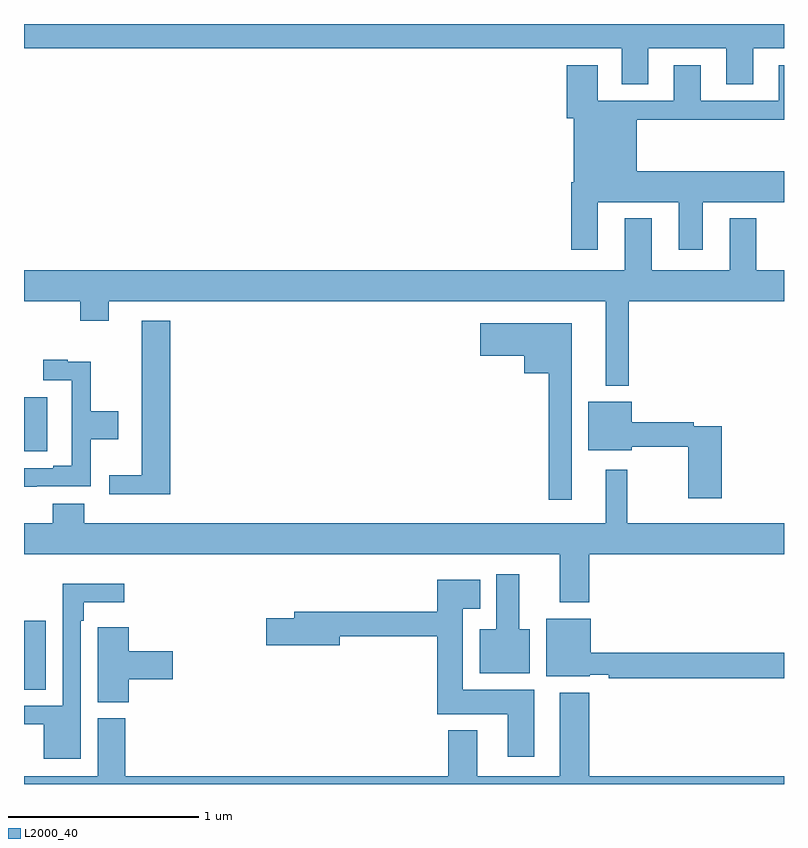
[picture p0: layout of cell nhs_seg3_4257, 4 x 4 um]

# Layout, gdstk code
import gdstk
lib = gdstk.Library(unit=1e-6, precision=1e-09)
def R(c, l, rs):  # rectangles x0, y0, x1, y1
    for r in rs: c.add(gdstk.rectangle(r[:2], r[2:], *l))
def P(c, l, *ps):  # polygons
    for p in ps: c.add(gdstk.Polygon(p, *l))
L2000_40 = (2000, 40)

nhs_seg3_4257 = lib.new_cell('nhs_seg3_4257')
R(nhs_seg3_4257, L2000_40, [(337,674.896,337.114,675.259), (337,676.151,337.123,676.435)])
P(nhs_seg3_4257, L2000_40, [(340.285,678.272),(340.697,678.272),(340.697,678.082),(340.837,678.082),(340.837,678.272),(341,678.272),(341,678.4),(337,678.4),(337,678.272),(340.145,678.272),(340.145,678.082),(340.285,678.082)],
  [(340.021,677.462),(340.445,677.462),(340.445,677.211),(340.573,677.211),(340.573,677.462),(341,677.462),(341,677.626),(340.225,677.626),(340.225,677.896),(341,677.896),(341,678.184),(340.973,678.184),(340.973,677.997),(340.561,677.997),(340.561,678.184),(340.421,678.184),(340.421,677.997),(340.021,677.997),(340.021,678.184),(339.857,678.184),(339.857,677.904),(339.893,677.904),(339.893,677.566),(339.881,677.566),(339.881,677.211),(340.021,677.211)],
  [(340.183,676.94),(341,676.94),(341,677.104),(340.855,677.104),(340.855,677.377),(340.715,677.377),(340.715,677.104),(340.303,677.104),(340.303,677.377),(340.163,677.377),(340.163,677.104),(337,677.104),(337,676.94),(337.295,676.94),(337.295,676.838),(337.447,676.838),(337.447,676.94),(340.061,676.94),(340.061,676.496),(340.183,676.496)],
  [(337.769,676.837),(337.619,676.837),(337.619,676.025),(337.449,676.025),(337.449,675.926),(337.769,675.926)],
  [(339.883,676.825),(339.402,676.825),(339.402,676.655),(339.632,676.655),(339.632,676.562),(339.762,676.562),(339.762,675.897),(339.883,675.897)],
  [(337.067,675.966),(337.352,675.966),(337.352,676.214),(337.495,676.214),(337.495,676.362),(337.352,676.362),(337.352,676.622),(337.229,676.622),(337.229,676.633),(337.101,676.633),(337.101,676.524),(337.251,676.524),(337.251,676.075),(337.154,676.075),(337.154,676.062),(337,676.062),(337,675.965),(337.067,675.965)],
  [(340.673,676.284),(340.526,676.284),(340.526,676.304),(340.198,676.304),(340.198,676.411),(339.971,676.411),(339.971,676.157),(340.198,676.157),(340.198,676.176),(340.495,676.176),(340.495,675.903),(340.673,675.903)],
  [(339.974,675.608),(341,675.608),(341,675.772),(340.175,675.772),(340.175,676.054),(340.061,676.054),(340.061,675.772),(337.316,675.772),(337.316,675.874),(337.151,675.874),(337.151,675.772),(337,675.772),(337,675.608),(339.821,675.608),(339.821,675.356),(339.974,675.356)],
  [(339.661,675.214),(339.607,675.214),(339.607,675.505),(339.485,675.505),(339.485,675.214),(339.398,675.214),(339.398,674.984),(339.661,674.984)],
  [(339.685,674.896),(339.31,674.896),(339.31,675.323),(339.4,675.323),(339.4,675.475),(339.176,675.475),(339.176,675.307),(338.423,675.307),(338.423,675.273),(338.274,675.273),(338.274,675.131),(338.662,675.131),(338.662,675.178),(339.176,675.178),(339.176,674.768),(339.545,674.768),(339.545,674.544),(339.685,674.544)],
  [(337.299,675.26),(337.315,675.26),(337.315,675.356),(337.528,675.356),(337.528,675.454),(337.203,675.454),(337.203,674.811),(337,674.811),(337,674.715),(337.103,674.715),(337.103,674.534),(337.299,674.534)],
  [(341,675.092),(339.982,675.092),(339.982,675.271),(339.749,675.271),(339.749,674.966),(339.978,674.966),(339.978,674.976),(340.078,674.976),(340.078,674.956),(341,674.956)],
  [(337.55,674.951),(337.783,674.951),(337.783,675.098),(337.55,675.098),(337.55,675.226),(337.389,675.226),(337.389,675.113),(337.388,675.113),(337.388,674.83),(337.55,674.83)],
  [(337.388,674.745),(337.388,674.44),(337,674.44),(337,674.4),(341,674.4),(341,674.44),(339.974,674.44),(339.974,674.881),(339.821,674.881),(339.821,674.44),(339.385,674.44),(339.385,674.683),(339.233,674.683),(339.233,674.44),(337.532,674.44),(337.532,674.745)])

lib.write_gds('nhs_seg3_4257.gds')
